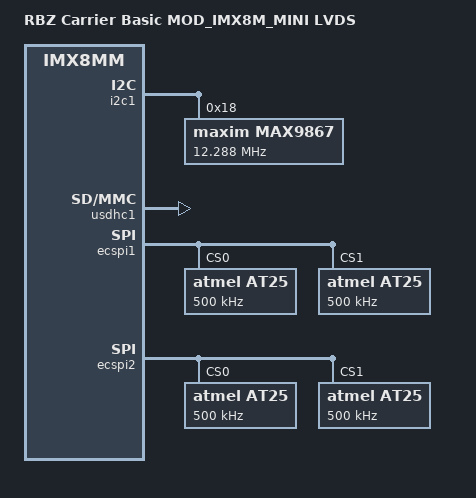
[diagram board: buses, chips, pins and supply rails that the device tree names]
// SPDX-License-Identifier: (GPL-2.0+ OR MIT)
/*
 * Copyright 2019 NXP
 */

/dts-v1/;

#include <dt-bindings/phy/phy-imx8-pcie.h>
#include <dt-bindings/usb/pd.h>
#include "../freescale/imx8mm.dtsi"
#include "mod-imx8m-mini.dtsi"

/ {
	model = "RBZ Carrier Basic MOD_IMX8M_MINI LVDS";
	compatible = "fsl,imx8mm-evk", "fsl,imx8mm";

    sound_max9867: sound-max9867 {
      compatible = "fsl,imx-audio-max9867";
      model = "imx-max9867";
      cpu-dai = <&sai5>;
      audio-codec = <&max9867>;
      audio-routing = 
        "Headphone Jack", "LOUT",
        "Headphone Jack", "ROUT",
        "Mic Jack", "MICR";
    };
};

&i2c1 {
  max9867: codec@18 {
    clock-frequency = <12288000>;
    compatible = "maxim,max9867";
    reg = <0x18>;
    clocks = <&clk IMX8MM_CLK_SAI5_ROOT>;
  };
};

&usdhc1 {
  status = "okay";
};

&ecspi1 {
  status = "okay";

  at25@0 {
    compatible = "atmel,at25";
    reg = <0>;
    spi-max-frequency = <500000>;
    pagesize = <8>;
    size = <128>;
    address-width = <8>;
  };
  
  at25@1 {
    compatible = "atmel,at25";
    reg = <1>;
    spi-max-frequency = <500000>;
    pagesize = <8>;
    size = <128>;
    address-width = <8>;
  };
};

&ecspi2 {
  status = "okay";

  at25@0 {
    compatible = "atmel,at25";
    reg = <0>;
    spi-max-frequency = <500000>;
    pagesize = <8>;
    size = <128>;
    address-width = <8>;
  };
  
  at25@1 {
    compatible = "atmel,at25";
    reg = <1>;
    spi-max-frequency = <500000>;
    pagesize = <8>;
    size = <128>;
    address-width = <8>;
  };
};
